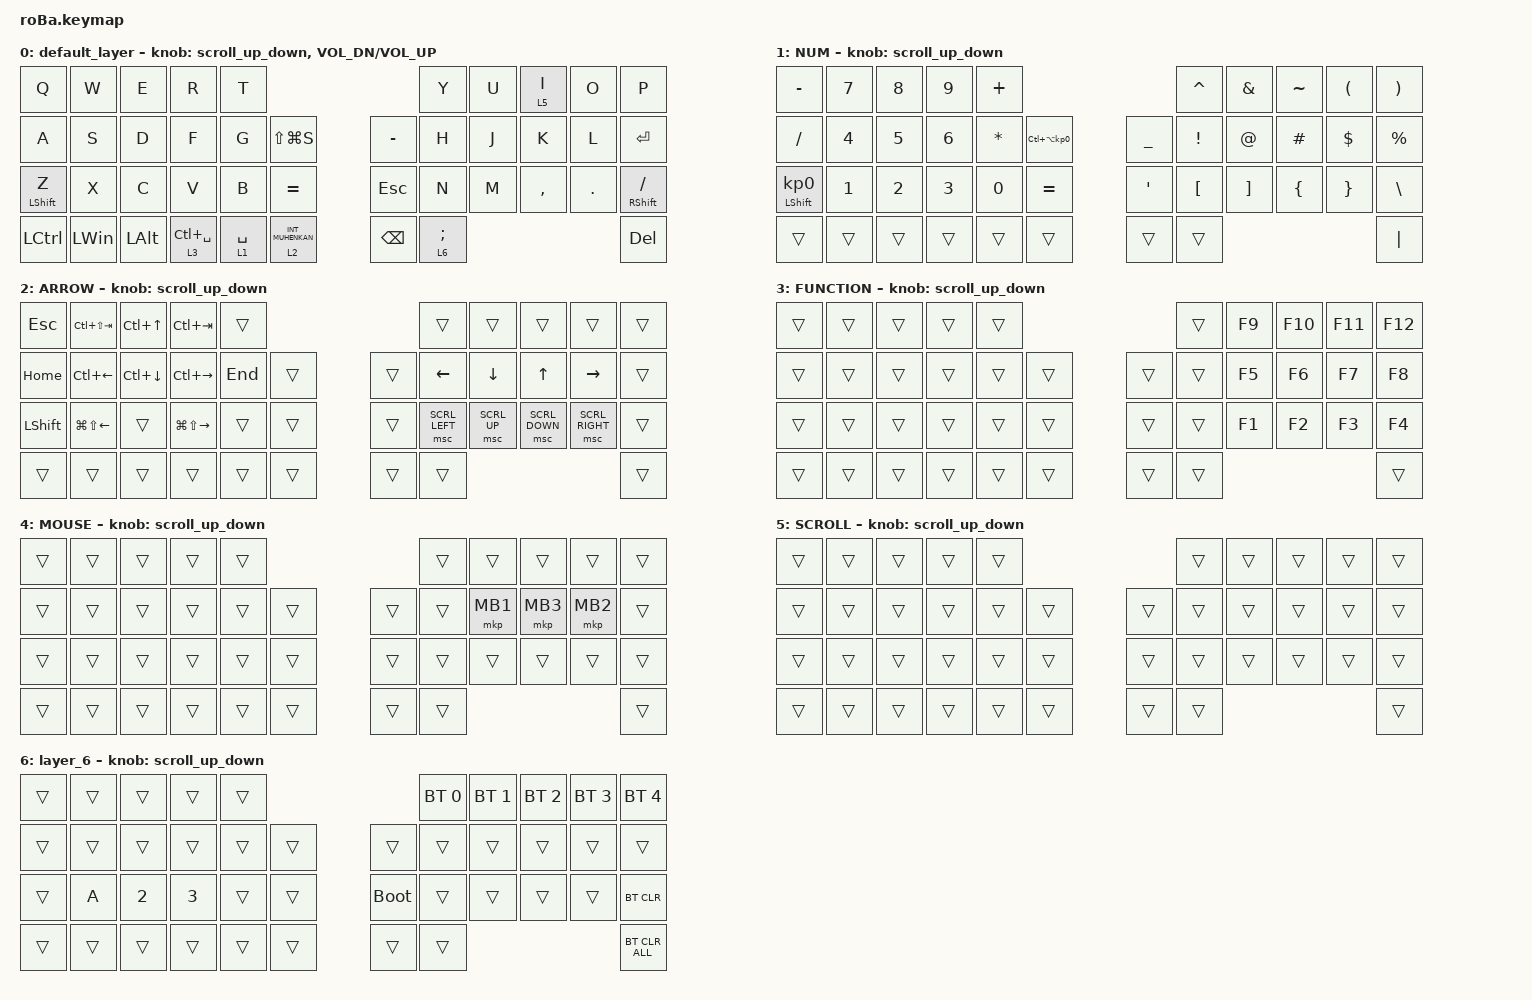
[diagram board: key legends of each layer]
#include <behaviors.dtsi>
#include <dt-bindings/zmk/bt.h>
#include <dt-bindings/zmk/keys.h>
#include <dt-bindings/zmk/pointing.h>

#define ZMK_POINTING_DEFAULT_SCRL_VAL 100
#define MOUSE 4

&mt {
    flavor = "balanced";
    quick-tap-ms = <0>;
};

/ {
    combos {
        compatible = "zmk,combos";

        tab {
            bindings = <&kp TAB>;
            key-positions = <11 12>;
        };

        shift_tab {
            bindings = <&kp LS(TAB)>;
            key-positions = <12 13>;
        };

        muhennkann {
            bindings = <&to_layer_0 INT_MUHENKAN>;
            key-positions = <11 10>;
        };

        double_quotation {
            bindings = <&kp DOUBLE_QUOTES>;
            key-positions = <19 18>;
        };

        eq {
            bindings = <&kp EQUAL>;
            key-positions = <24 25>;
        };

        appLauncher {
            bindings = <&kp LG(SPACE)>;
            key-positions = <26 27>;
        };

        screenShot {
            bindings = <&kp LG(LS(N5))>;
            key-positions = <28 29>;
        };

        backQuort {
            bindings = <&kp GRAVE>;
            key-positions = <19 20>;
        };

        singleQuote {
            bindings = <&kp SINGLE_QUOTE>;
            key-positions = <17 18>;
        };

        backpage {
            bindings = <&kp LG(LEFT_BRACKET)>;
            key-positions = <30 31>;
        };

        nextpage {
            bindings = <&kp LG(RIGHT_BRACKET)>;
            key-positions = <32 31>;
        };
    };

    macros {
        to_layer_0: to_layer_0 {
            compatible = "zmk,behavior-macro-one-param";
            #binding-cells = <1>;
            bindings = <&to 0 &macro_param_1to1 &kp MACRO_PLACEHOLDER>;
            label = "TO_LAYER_0";
        };
    };

    behaviors {
        lt_to_layer_0: lt_to_layer_0 {
            compatible = "zmk,behavior-hold-tap";
            label = "LAYER_TAP_TO_0";
            bindings = <&mo>, <&to_layer_0>;

            #binding-cells = <2>;
            tapping-term-ms = <200>;
        };

        scroll_up_down: behavior_sensor_rotate_mouse_wheel_up_down {
            compatible = "zmk,behavior-sensor-rotate";
            #sensor-binding-cells = <0>;
            bindings = <&msc SCRL_UP>, <&msc SCRL_DOWN>;

            tap-ms = <20>;
        };
    };

    keymap {
        compatible = "zmk,keymap";

        default_layer {
            bindings = <
&kp Q             &kp W         &kp E         &kp R                       &kp T                                                          &kp Y       &kp U  &lt 5 I    &kp O    &kp P
&kp A             &kp S         &kp D         &kp F                       &kp G        &kp LS(LG(S))                      &kp MINUS      &kp H       &kp J  &kp K      &kp L    &kp ENTER
&mt LEFT_SHIFT Z  &kp X         &kp C         &kp V                       &kp B        &kp EQUAL                          &kp ESCAPE     &kp N       &kp M  &kp COMMA  &kp DOT  &mt RIGHT_SHIFT SLASH
&kp LCTRL         &kp LEFT_WIN  &kp LEFT_ALT  &lt_to_layer_0 3 LC(SPACE)  &lt 1 SPACE  &lt_to_layer_0 2 INT_MUHENKAN      &kp BACKSPACE  &lt 6 SEMI                             &kp DEL
            >;

            sensor-bindings =
                <&scroll_up_down>,
                <&inc_dec_kp C_VOL_DN C_VOL_UP>;
        };

        NUM {
            bindings = <
&kp MINUS                   &kp N7        &kp N8        &kp N9        &kp PLUS                                                     &kp CARET         &kp AMPERSAND      &kp TILDE       &kp LEFT_PARENTHESIS  &kp RIGHT_PARENTHESIS
&kp SLASH                   &kp NUMBER_4  &kp N5        &kp NUMBER_6  &kp ASTERISK  &kp LC(LA(KP_NUMBER_0))      &kp UNDERSCORE    &kp EXCLAMATION   &kp AT_SIGN        &kp HASH        &kp DOLLAR            &kp PERCENT
&mt LEFT_SHIFT KP_NUMBER_0  &kp NUMBER_1  &kp NUMBER_2  &kp NUMBER_3  &kp N0        &kp EQUAL                    &kp SINGLE_QUOTE  &kp LEFT_BRACKET  &kp RIGHT_BRACKET  &kp LEFT_BRACE  &kp RIGHT_BRACE       &kp BACKSLASH
&trans                      &trans        &trans        &trans        &trans        &trans                       &trans            &trans                                                                     &kp PIPE
            >;

            sensor-bindings = <&scroll_up_down>;
        };

        ARROW {
            bindings = <
&kp ESCAPE      &kp LC(LS(TAB))         &kp LC(UP_ARROW)    &kp LC(TAB)              &trans                       &trans          &trans          &trans          &trans           &trans
&kp HOME        &kp LC(LEFT_ARROW)      &kp LC(DOWN_ARROW)  &kp LC(RIGHT_ARROW)      &kp END  &trans      &trans  &kp LEFT        &kp DOWN_ARROW  &kp UP_ARROW    &kp RIGHT        &trans
&kp LEFT_SHIFT  &kp LG(LS(LEFT_ARROW))  &trans              &kp LG(LS(RIGHT_ARROW))  &trans   &trans      &trans  &msc SCRL_LEFT  &msc SCRL_UP    &msc SCRL_DOWN  &msc SCRL_RIGHT  &trans
&trans          &trans                  &trans              &trans                   &trans   &trans      &trans  &trans                                                           &trans
            >;

            sensor-bindings = <&scroll_up_down>;
        };

        FUNCTION {
            bindings = <
&trans  &trans  &trans  &trans  &trans                      &trans  &kp F9  &kp F10  &kp F11  &kp F12
&trans  &trans  &trans  &trans  &trans  &trans      &trans  &trans  &kp F5  &kp F6   &kp F7   &kp F8
&trans  &trans  &trans  &trans  &trans  &trans      &trans  &trans  &kp F1  &kp F2   &kp F3   &kp F4
&trans  &trans  &trans  &trans  &trans  &trans      &trans  &trans                            &trans
            >;

            sensor-bindings = <&scroll_up_down>;
        };

        MOUSE {
            bindings = <
&trans  &trans  &trans  &trans  &trans                      &trans  &trans    &trans    &trans    &trans
&trans  &trans  &trans  &trans  &trans  &trans      &trans  &trans  &mkp MB1  &mkp MB3  &mkp MB2  &trans
&trans  &trans  &trans  &trans  &trans  &trans      &trans  &trans  &trans    &trans    &trans    &trans
&trans  &trans  &trans  &trans  &trans  &trans      &trans  &trans                                &trans
            >;

            sensor-bindings = <&scroll_up_down>;
        };

        SCROLL {
            bindings = <
&trans  &trans  &trans  &trans  &trans                      &trans  &trans  &trans  &trans  &trans
&trans  &trans  &trans  &trans  &trans  &trans      &trans  &trans  &trans  &trans  &trans  &trans
&trans  &trans  &trans  &trans  &trans  &trans      &trans  &trans  &trans  &trans  &trans  &trans
&trans  &trans  &trans  &trans  &trans  &trans      &trans  &trans                          &trans
            >;

            sensor-bindings = <&scroll_up_down>;
        };

        layer_6 {
            bindings = <
&trans  &trans  &trans        &trans        &trans                           &bt BT_SEL 0  &bt BT_SEL 1  &bt BT_SEL 2  &bt BT_SEL 3  &bt BT_SEL 4
&trans  &trans  &trans        &trans        &trans  &trans      &trans       &trans        &trans        &trans        &trans        &trans
&trans  &kp A   &kp NUMBER_2  &kp NUMBER_3  &trans  &trans      &bootloader  &trans        &trans        &trans        &trans        &bt BT_CLR
&trans  &trans  &trans        &trans        &trans  &trans      &trans       &trans                                                  &bt BT_CLR_ALL
            >;

            sensor-bindings = <&scroll_up_down>;
        };
    };
};
